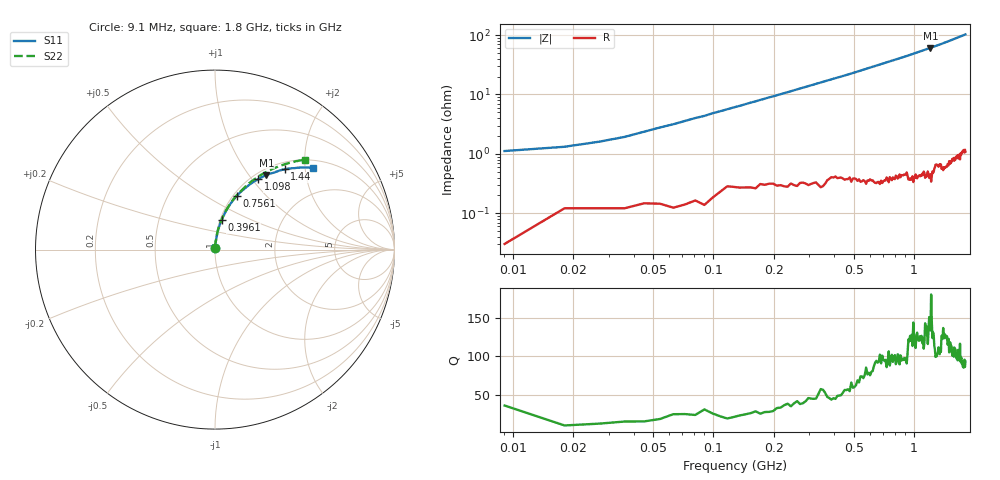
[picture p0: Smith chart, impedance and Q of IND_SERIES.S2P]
!Agilent Technologies,E5071C,MY46101151,A.11.02
!Date: Sun Sep 24 16:07:03 2017
!Data & Calibration Information:
!Freq	S11:SOLT2(ON)	S21:SOLT2(ON)	S12:SOLT2(ON)	S22:SOLT2(ON)
!PortZ  Port1:50+j0  Port2:50+j0
!Above PortZ is port z conversion or system Z0 setting when saving the data.
!When reading, reference impedance value at option line is always used.
# Hz S RI R 50
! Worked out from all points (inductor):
!   200 points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, 9.1 MHz to 1.8 GHz, reference 50 ohm
!   read as one part in series: L = 9.42 nH near 18.1 MHz
!   highest Q = 146 at 1.206 GHz (marker M1), where L = 8.03 nH
!   S11 on the Smith chart (normalised r, x): 9.1 MHz: 1.00, +0.02; 396.1 MHz: 1.02, +0.34; 756.1 MHz: 1.04, +0.69; 1.098 GHz: 1.08, +1.08; 1.44 GHz: 1.13, +1.56; 1.8 GHz: 1.20, +2.20
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9099500  0.000292 0.00981  0.9995 -0.0114  0.9997 -0.0117  0.000534 0.0117
1.8099e7  0.00144 0.0118  0.999 -0.0135  0.9988 -0.0141  0.00197 0.0129
2.70985e7  0.00123 0.0144  0.9987 -0.0167  0.9987 -0.0174  0.00198 0.0156
3.6098e7  0.00068 0.0163  0.9984 -0.0201  0.9982 -0.0215  0.00228 0.0191
4.50975e7  0.00152 0.0214  0.998 -0.025  0.998 -0.0258  0.00252 0.0218
5.4097e7  0.00115 0.0259  0.9975 -0.0301  0.9978 -0.0304  0.00303 0.0243
8.10955e7  0.00332 0.037  0.9961 -0.0433  0.9966 -0.043  0.00232 0.0361
1.08094e8  0.00441 0.0471  0.9943 -0.0567  0.9943 -0.0565  0.00416 0.047
1.530915e8  0.00841 0.0664  0.9913 -0.0781  0.9924 -0.0781  0.00701 0.0651
1.890895e8  0.0117 0.081  0.9884 -0.0949  0.9893 -0.0958  0.00975 0.0804
2.52086e8  0.0165 0.1066  0.9828 -0.1245  0.9834 -0.1243  0.0159 0.1065
3.150825e8  0.0241 0.1307  0.9757 -0.1534  0.9759 -0.1539  0.0236 0.1323
3.96078e8  0.0369 0.1639  0.9626 -0.1904  0.9638 -0.1909  0.0353 0.1626
4.68074e8  0.0491 0.1911  0.9512 -0.2214  0.9514 -0.2213  0.0476 0.1913
6.12066e8  0.0802 0.2461  0.9204 -0.2822  0.9209 -0.2836  0.078 0.245
7.56058e8  0.12 0.2978  0.8811 -0.3377  0.8821 -0.3388  0.117 0.2968
9.090495e8  0.1706 0.3444  0.8336 -0.3901  0.8345 -0.3913  0.1631 0.3448
1.098039e9  0.2414 0.3934  0.7656 -0.4444  0.7655 -0.4451  0.2301 0.3983
1.206033e9  0.2868 0.4155  0.7236 -0.4687  0.7239 -0.4698  0.2701 0.4246
1.44002e9  0.3892 0.447  0.6281 -0.5045  0.6285 -0.5052  0.3623 0.4664
1.503016e9  0.4175 0.4521  0.6023 -0.5089  0.6011 -0.5109  0.3876 0.4758
1.8e9  0.5453 0.4554  0.4838 -0.5143  0.4838 -0.5145  0.5021 0.5007
